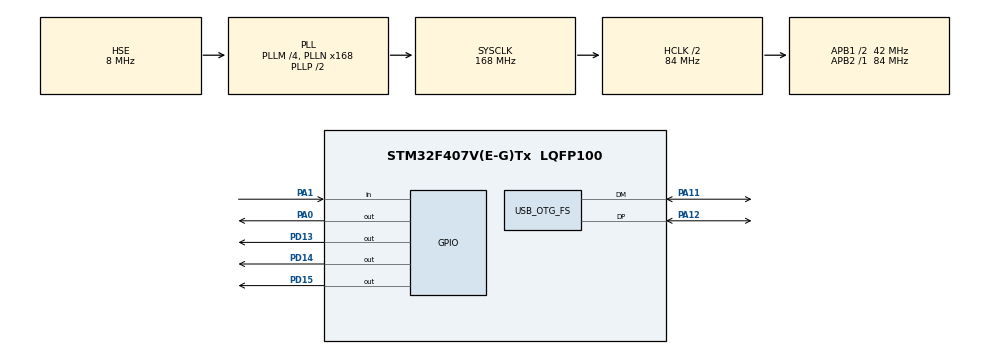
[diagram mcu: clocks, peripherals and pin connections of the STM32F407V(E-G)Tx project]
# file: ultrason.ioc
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Mcu.Family=STM32F4
Mcu.Name=STM32F407V(E-G)Tx
Mcu.Package=LQFP100
NVIC.OTG_FS_IRQn=true\:0\:0\:false\:false\:true\:false\:true\:true
NVIC.PriorityGroup=NVIC_PRIORITYGROUP_0
PA0-WKUP.GPIO_PuPd=GPIO_NOPULL
PA0-WKUP.Signal=GPIO_Output
PA1.GPIO_PuPd=GPIO_NOPULL
PA1.Signal=GPIO_Input
PA11.Mode=Device_Only
PA11.Signal=USB_OTG_FS_DM
PA12.Mode=Device_Only
PA12.Signal=USB_OTG_FS_DP
PD13.Signal=GPIO_Output
PD14.Signal=GPIO_Output
PD15.Signal=GPIO_Output
PH0-OSC_IN.Mode=HSE-External-Oscillator
PH0-OSC_IN.Signal=RCC_OSC_IN
PH1-OSC_OUT.Mode=HSE-External-Oscillator
PH1-OSC_OUT.Signal=RCC_OSC_OUT
ProjectManager.HeapSize=0x200
ProjectManager.StackSize=0x400
ProjectManager.TargetToolchain=STM32CubeIDE
RCC.48MHZClocksFreq_Value=48000000
RCC.AHBCLKDivider=RCC_SYSCLK_DIV2
RCC.AHBFreq_Value=84000000
RCC.APB1CLKDivider=RCC_HCLK_DIV2
RCC.APB1Freq_Value=42000000
RCC.APB1TimFreq_Value=84000000
RCC.APB2Freq_Value=84000000
RCC.APB2TimFreq_Value=84000000
RCC.CortexFreq_Value=84000000
RCC.HCLKFreq_Value=84000000
RCC.HSE_VALUE=8000000
RCC.HSI_VALUE=16000000
RCC.LSE_VALUE=32768
RCC.PLLM=4
RCC.PLLN=168
RCC.PLLQ=7
RCC.SYSCLKFreq_VALUE=168000000
RCC.SYSCLKSource=RCC_SYSCLKSOURCE_PLLCLK
RCC.VCOOutputFreq_Value=336000000
TIM10.Prescaler=83
USB_DEVICE.CLASS_NAME_FS=CDC
USB_DEVICE.VirtualMode-CDC_FS=Cdc
USB_DEVICE.VirtualModeFS=Cdc_FS
USB_OTG_FS.VirtualMode=Device_Only
VP_TIM10_VS_ClockSourceINT.Mode=Enable_Timer
VP_USB_DEVICE_VS_USB_DEVICE_CDC_FS.Mode=CDC_FS
board=STM32F407G-DISC1

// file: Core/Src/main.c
/* USER CODE BEGIN Header */
/**
  ******************************************************************************
  * @file           : main.c
  * @brief          : Main program body
  ******************************************************************************
  * @attention
  *
  * Copyright (c) 2025 STMicroelectronics.
  * All rights reserved.
  *
  * This software is licensed under terms that can be found in the LICENSE file
  * in the root directory of this software component.
  * If no LICENSE file comes with this software, it is provided AS-IS.
  *
  ******************************************************************************
  */
/* USER CODE END Header */
#include "main.h"
#include "usb_device.h"

/* USER CODE BEGIN Includes */
#include "usbd_cdc_if.h"
#include <stdint.h>
#include <string.h>
#include <stdio.h>
/* USER CODE END Includes */

TIM_HandleTypeDef htim10;

void SystemClock_Config(void);
static void MX_GPIO_Init(void);
static void MX_TIM10_Init(void);

/* USER CODE BEGIN 0 */
void delay_us(uint16_t us)
{
    __HAL_TIM_SET_COUNTER(&htim10, 0);
    HAL_TIM_Base_Start(&htim10);
    while (__HAL_TIM_GET_COUNTER(&htim10) < us);
    HAL_TIM_Base_Stop(&htim10);
}
/* USER CODE END 0 */

int main(void)
{

  /* USER CODE BEGIN 1 */
  uint32_t startTime, endTime, timeElapsed, distanceCM;
  char usbMessage[64]; // Buffer for formatting messages
  /* USER CODE END 1 */

  /* MCU Configuration--------------------------------------------------------*/

  /* Reset of all peripherals, Initializes the Flash interface and the Systick. */
  HAL_Init();

  /* Configure the system clock */
  SystemClock_Config();

  /* Initialize all configured peripherals */
  MX_GPIO_Init();
  MX_TIM10_Init();
  MX_USB_DEVICE_Init();

  /* Infinite loop */
  /* USER CODE BEGIN WHILE */
  while (1)
  {
    HAL_GPIO_WritePin(GPIOA, GPIO_PIN_0, GPIO_PIN_SET);
    delay_us(10);
    HAL_GPIO_WritePin(GPIOA, GPIO_PIN_0, GPIO_PIN_RESET);

    __HAL_TIM_SET_COUNTER(&htim10, 0);
    HAL_TIM_Base_Start(&htim10);

    while(HAL_GPIO_ReadPin(GPIOA, GPIO_PIN_1) == GPIO_PIN_RESET);

    startTime = __HAL_TIM_GET_COUNTER(&htim10);
    sprintf(usbMessage, "Start time: %lu", startTime);
    CDC_Transmit_FS((uint8_t*)usbMessage, strlen(usbMessage));

    while(HAL_GPIO_ReadPin(GPIOA, GPIO_PIN_1) == GPIO_PIN_SET);

    endTime = __HAL_TIM_GET_COUNTER(&htim10);

    HAL_TIM_Base_Stop(&htim10);

    timeElapsed = endTime - startTime;
    distanceCM = timeElapsed / 58;

    sprintf(usbMessage, "\r\nEnd time: %lu\r\nTime elapsed: %lu us\r\nDistance: %lu cm\r\n",
            endTime, timeElapsed, distanceCM);
    CDC_Transmit_FS((uint8_t*)usbMessage, strlen(usbMessage));

    HAL_Delay(500);
    /* USER CODE END WHILE */

  }
}

void SystemClock_Config(void)
{
  RCC_OscInitTypeDef RCC_OscInitStruct = {0};
  RCC_ClkInitTypeDef RCC_ClkInitStruct = {0};

  /** Configure the main internal regulator output voltage
  */
  __HAL_RCC_PWR_CLK_ENABLE();
  __HAL_PWR_VOLTAGESCALING_CONFIG(PWR_REGULATOR_VOLTAGE_SCALE1);

  /** Initializes the RCC Oscillators according to the specified parameters
  * in the RCC_OscInitTypeDef structure.
  */
  RCC_OscInitStruct.OscillatorType = RCC_OSCILLATORTYPE_HSE;
  RCC_OscInitStruct.HSEState = RCC_HSE_ON;
  RCC_OscInitStruct.PLL.PLLState = RCC_PLL_ON;
  RCC_OscInitStruct.PLL.PLLSource = RCC_PLLSOURCE_HSE;
  RCC_OscInitStruct.PLL.PLLM = 4;
  RCC_OscInitStruct.PLL.PLLN = 168;
  RCC_OscInitStruct.PLL.PLLP = RCC_PLLP_DIV2;
  RCC_OscInitStruct.PLL.PLLQ = 7;
  if (HAL_RCC_OscConfig(&RCC_OscInitStruct) != HAL_OK)
  {
    Error_Handler();
  }

  /** Initializes the CPU, AHB and APB buses clocks
  */
  RCC_ClkInitStruct.ClockType = RCC_CLOCKTYPE_HCLK|RCC_CLOCKTYPE_SYSCLK
                              |RCC_CLOCKTYPE_PCLK1|RCC_CLOCKTYPE_PCLK2;
  RCC_ClkInitStruct.SYSCLKSource = RCC_SYSCLKSOURCE_PLLCLK;
  RCC_ClkInitStruct.AHBCLKDivider = RCC_SYSCLK_DIV2;
  RCC_ClkInitStruct.APB1CLKDivider = RCC_HCLK_DIV2;
  RCC_ClkInitStruct.APB2CLKDivider = RCC_HCLK_DIV1;

  if (HAL_RCC_ClockConfig(&RCC_ClkInitStruct, FLASH_LATENCY_2) != HAL_OK)
  {
    Error_Handler();
  }
}

static void MX_TIM10_Init(void)
{

  htim10.Instance = TIM10;
  htim10.Init.Prescaler = 83;
  htim10.Init.CounterMode = TIM_COUNTERMODE_UP;
  htim10.Init.Period = 65535;
  htim10.Init.ClockDivision = TIM_CLOCKDIVISION_DIV1;
  htim10.Init.AutoReloadPreload = TIM_AUTORELOAD_PRELOAD_DISABLE;
  if (HAL_TIM_Base_Init(&htim10) != HAL_OK)
  {
    Error_Handler();
  }

}

static void MX_GPIO_Init(void)
{
  GPIO_InitTypeDef GPIO_InitStruct = {0};

  /* GPIO Ports Clock Enable */
  __HAL_RCC_GPIOH_CLK_ENABLE();
  __HAL_RCC_GPIOA_CLK_ENABLE();
  __HAL_RCC_GPIOD_CLK_ENABLE();

  /*Configure GPIO pin Output Level */
  HAL_GPIO_WritePin(GPIOA, GPIO_PIN_0, GPIO_PIN_RESET);

  /*Configure GPIO pin Output Level */
  HAL_GPIO_WritePin(GPIOD, GPIO_PIN_13|GPIO_PIN_14|GPIO_PIN_15, GPIO_PIN_RESET);

  /*Configure GPIO pin : PA0 */
  GPIO_InitStruct.Pin = GPIO_PIN_0;
  GPIO_InitStruct.Mode = GPIO_MODE_OUTPUT_PP;
  GPIO_InitStruct.Pull = GPIO_NOPULL;
  GPIO_InitStruct.Speed = GPIO_SPEED_FREQ_LOW;
  HAL_GPIO_Init(GPIOA, &GPIO_InitStruct);

  /*Configure GPIO pin : PA1 */
  GPIO_InitStruct.Pin = GPIO_PIN_1;
  GPIO_InitStruct.Mode = GPIO_MODE_INPUT;
  GPIO_InitStruct.Pull = GPIO_NOPULL;
  HAL_GPIO_Init(GPIOA, &GPIO_InitStruct);

  /*Configure GPIO pins : PD13 PD14 PD15 */
  GPIO_InitStruct.Pin = GPIO_PIN_13|GPIO_PIN_14|GPIO_PIN_15;
  GPIO_InitStruct.Mode = GPIO_MODE_OUTPUT_PP;
  GPIO_InitStruct.Pull = GPIO_NOPULL;
  GPIO_InitStruct.Speed = GPIO_SPEED_FREQ_LOW;
  HAL_GPIO_Init(GPIOD, &GPIO_InitStruct);

}

void Error_Handler(void)
{
  __disable_irq();
  while (1)
  {
  }
}
